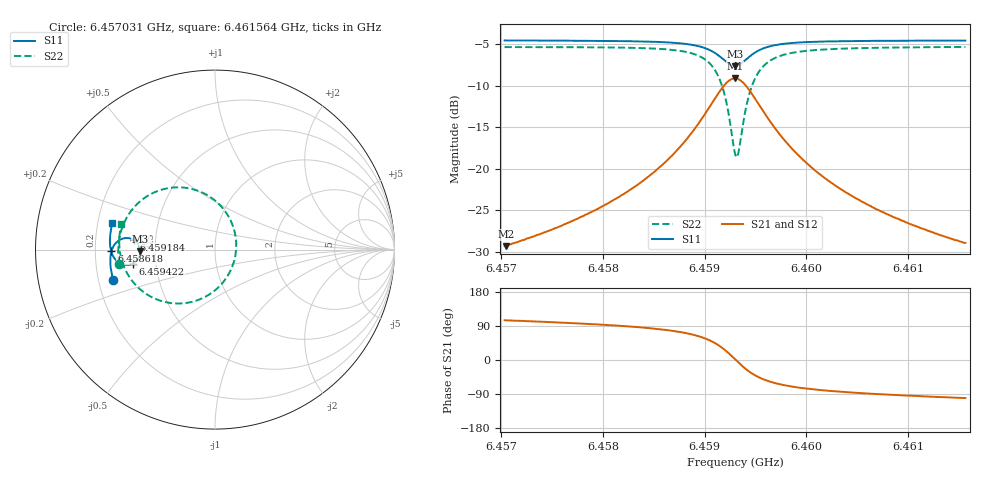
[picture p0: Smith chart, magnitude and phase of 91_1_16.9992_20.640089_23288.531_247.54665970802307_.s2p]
#  HZ  S  RI  R  50.00
! Rohde & Schwarz Vector Network Analyzer
! Rohde-Schwarz,ZNB20-2Port,1311601062101988,3.16
! Created: UTC 3/20/2024, 10:56:07 PM
! freq[Hz]  re:S11  im:S11  re:S21  im:S21  re:S12  im:S12  re:S22  im:S22
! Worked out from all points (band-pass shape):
!   401 points, 6.457031 GHz to 6.461564 GHz, reference 50 ohm
!   highest |S21| = -9.12 dB at 6.459298 GHz (marker M1); lowest = -29.3 dB at 6.457043 GHz (marker M2)
!   |S21| within 3 dB of the highest: 6.45907 GHz to 6.459524 GHz (454 kHz wide, 0.00703 % of centre)
!   lowest |S11| = -7.6 dB at 6.459298 GHz (marker M3), VSWR 2.42, Z = 20.7 - j0.527 ohm
!   |S11| at or under -10 dB: nowhere
!   |S22| runs from -18.6 to -5.3 dB; largest |S21 - S12| = 0.014
!   S11 on the Smith chart (normalised r, x): 6.457031 GHz: 0.26, -0.14; 6.458618 GHz: 0.27, -0.01; 6.459184 GHz: 0.38, +0.05; 6.459422 GHz: 0.37, -0.07; 6.461564 GHz: 0.26, +0.12
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6.4570314e9  -0.5673 -0.1693  -0.00879 0.0331  -0.00696 0.0329  -0.5342 -0.0792
6.4570428e9  -0.5676 -0.1684  -0.00865 0.033  -0.00692 0.0331  -0.5344 -0.0778
6.4577906e9  -0.5807 -0.1027  -0.00536 0.0511  -0.00284 0.0505  -0.5387 0.0107
6.4582212e9  -0.5834 -0.0592  0.00105 0.0716  0.00426 0.0701  -0.5293 0.0801
6.4585499e9  -0.5794 -0.0193  0.0149 0.1003  0.0189 0.0973  -0.5036 0.1558
6.4586178e9  -0.5771 -0.00974  0.0204 0.1085  0.0243 0.1053  -0.4934 0.1758
6.4588105e9  -0.5642 0.0206  0.0474 0.1397  0.0515 0.1348  -0.4424 0.2451
6.4589578e9  -0.5412 0.047  0.0934 0.1706  0.0967 0.1638  -0.3575 0.3094
6.4590938e9  -0.4966 0.0645  0.182 0.1868  0.1829 0.1794  -0.196 0.3468
6.4591844e9  -0.4513 0.0537  0.273 0.1544  0.2732 0.1487  -0.028 0.294
6.4592524e9  -0.422 0.0209  0.3338 0.0812  0.3359 0.0759  0.0873 0.1618
6.4592977e9  -0.4152 -0.0106  0.3497 0.0124  0.3536 0.00549  0.1185 0.0331
6.4593317e9  -0.4192 -0.0347  0.3435 -0.0405  0.3476 -0.0498  0.1057 -0.0671
6.4593771e9  -0.4352 -0.0612  0.3143 -0.1009  0.3166 -0.1129  0.0464 -0.1808
6.4594224e9  -0.4575 -0.0776  0.2715 -0.1421  0.2706 -0.1554  -0.0401 -0.2552
6.459513e9  -0.5014 -0.0848  0.1857 -0.173  0.1795 -0.1847  -0.2107 -0.3003
6.4596604e9  -0.5459 -0.0642  0.097 -0.1587  0.0884 -0.1649  -0.3792 -0.2495
6.459819e9  -0.5677 -0.0367  0.0517 -0.1304  0.0441 -0.1332  -0.4599 -0.1766
6.460057e9  -0.5806 -0.00115  0.0224 -0.0984  0.0166 -0.099  -0.5078 -0.0936
6.4603969e9  -0.5854 0.0396  0.00627 -0.0712  0.00216 -0.0708  -0.5292 -0.0143
6.4608162e9  -0.5837 0.082  -0.00137 -0.0524  -0.00436 -0.0516  -0.5335 0.0536
6.4615641e9  -0.5721 0.1485  -0.0065 -0.0352  -0.00815 -0.0341  -0.522 0.143
